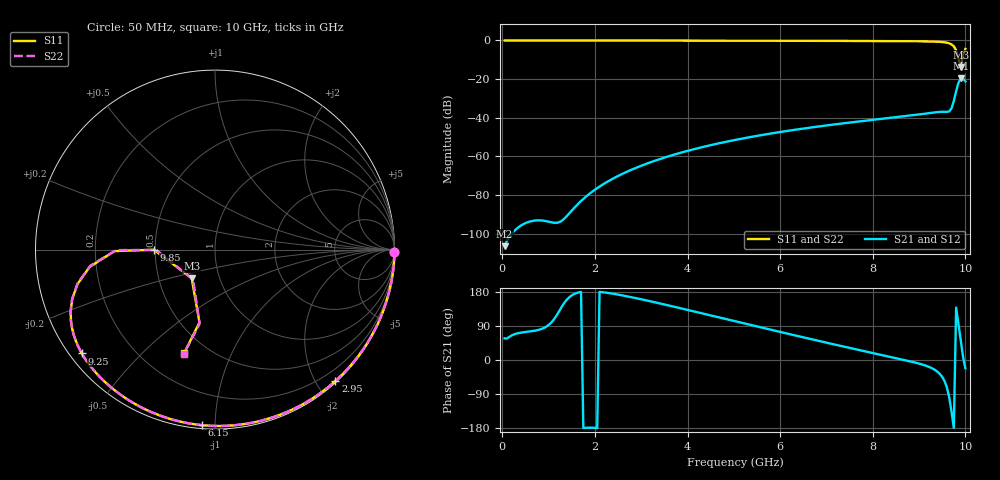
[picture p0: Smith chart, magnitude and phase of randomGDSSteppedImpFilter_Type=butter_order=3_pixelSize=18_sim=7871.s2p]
! freq	dB(S11)	phase(S11)	dB(S12)	phase(S12)
!  dB(S21)	phase(S21)	dB(S22)	phase(S22)
!S-par simulation data
#  GHz  S  DB  R 50
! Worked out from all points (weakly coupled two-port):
!   200 points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, 50 MHz to 10 GHz, reference 50 ohm
!   highest |S21| = -19.64 dB at 9.9 GHz (marker M1); lowest = -106.5 dB at 50 MHz (marker M2)
!   lowest |S11| = -13.7 dB at 9.9 GHz (marker M3), VSWR 1.52, Z = 36.8 - j12.2 ohm
!   |S11| at or under -10 dB: 9.857 GHz to 9.931 GHz (73.53 MHz wide, 0.743 % of centre)
!   |S22| runs from -13.7 to 0.0 dB; largest |S21 - S12| = 0
!   S11 on the Smith chart (normalised r, x): 50 MHz: open; 2.95 GHz: 0.02, -2.27; 6.15 GHz: 0.02, -0.93; 9.25 GHz: 0.03, -0.34; 9.85 GHz: 0.49, -0.00; 10 GHz: 0.37, -0.68
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0.05  -0.00 -0.8  -106.52 57.2  -106.52 57.2  -0.00 -0.8
0.9  -0.02 -14.8  -93.36 84.7  -93.36 84.7  -0.02 -14.8
1.75  -0.04 -28.6  -82.06 -179.5  -82.06 -179.5  -0.04 -28.6
1.85  -0.04 -30.2  -80.02 -178.7  -80.02 -178.7  -0.04 -30.2
2.35  -0.05 -38.1  -72.07 175.7  -72.07 175.7  -0.05 -38.1
2.95  -0.06 -47.5  -65.35 161.6  -65.35 161.6  -0.06 -47.5
3.4  -0.07 -54.4  -61.43 149.4  -61.43 149.4  -0.07 -54.4
4.15  -0.09 -65.6  -56.23 127.9  -56.23 127.9  -0.09 -65.7
5.05  -0.12 -78.7  -51.41 101.6  -51.41 101.6  -0.12 -78.8
6.15  -0.17 -94.2  -46.85 69.8  -46.85 69.8  -0.17 -94.3
6.7  -0.20 -101.9  -44.95 54.1  -44.95 54.1  -0.20 -101.9
8.35  -0.33 -125.2  -40.20 9.1  -40.20 9.1  -0.33 -125.3
9.25  -0.53 -142.0  -37.52 -20.1  -37.52 -20.1  -0.53 -142.2
9.5  -0.82 -150.9  -36.92 -44.8  -36.92 -44.8  -0.83 -151.1
9.65  -1.48 -160.7  -36.74 -97.9  -36.74 -97.9  -1.51 -161.1
9.7  -2.03 -165.8  -35.18 -135.8  -35.18 -135.8  -2.07 -166.2
9.75  -3.03 -172.1  -31.31 -179.4  -31.31 -179.4  -3.11 -172.7
9.8  -5.04 -179.1  -26.29 138.3  -26.29 138.3  -5.19 -179.7
9.85  -9.37 -179.9  -21.95 94.4  -21.95 94.4  -9.70 -179.6
9.9  -13.74 -129.3  -19.64 48.6  -19.64 48.6  -13.67 -126.1
9.95  -7.65 -102.1  -19.70 8.0  -19.70 8.0  -7.49 -101.7
10  -4.41 -106.6  -21.20 -21.9  -21.20 -21.9  -4.33 -106.7
